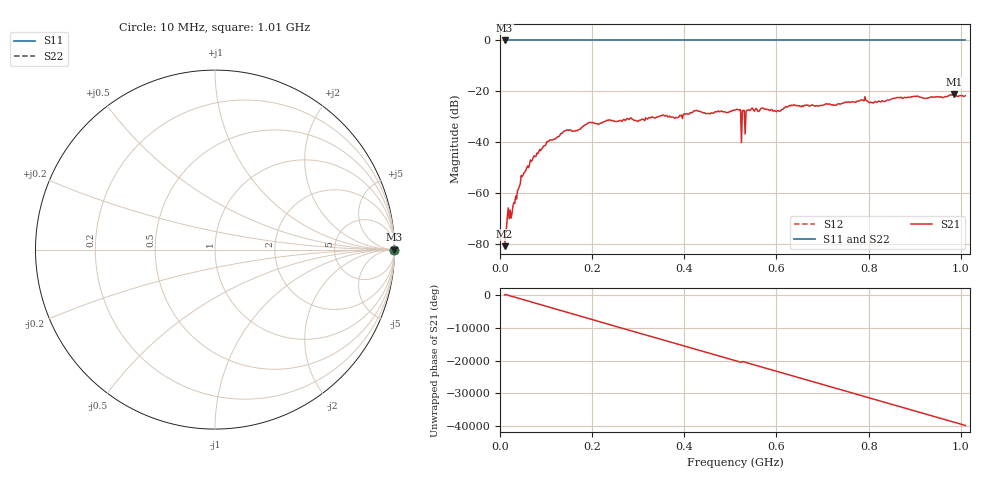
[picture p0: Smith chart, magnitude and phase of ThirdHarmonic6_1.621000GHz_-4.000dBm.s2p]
! 8/16/2025 7:21:24 PM
! C:\ANRITSUVNA\TEMP\TEMP.S2P
! CHANNEL.1
! TR.MEASUREMENT
! RAW.DATA
! RF.CORRECTION.OFF
! AVERAGING.OFF
! IF.BANDWIDTH: 5KHZ
! SWEEPTYPE:  FREQ.SWEEP(Linear)
! Reference Plane Port Info
! PORT:  PORT1  PORT2
! DISTANCE:  0  m  0  m
! TIME:  0  s  0  s
! PHASE.OFFSET:  0  deg.  0  deg.
! LOSS:  0  dB  0  dB
! REF.LOSS:  0  dB  0  dB
! REF.FREQ:  0  Hz  0  Hz
! Power Info
! POWER:  -20  dBm  -20  dBm
! EFF.POWER:  -20  dBm  -20  dBm
! SOURCE.ATTEN:  0  dB  0  dB
! TEST.ATTEN:  0  dB  0  dB
# GHZ S RI R 50.0
! FREQ.GHZ  S11RE  S11IM  S21RE  S21IM  S12RE  S12IM  S22RE  S22IM
!; PortSelection: Port_12
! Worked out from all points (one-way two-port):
!   501 points, 10 MHz to 1.01 GHz, reference 50 ohm
!   highest |S21| = -21.17 dB at 986 MHz (marker M1); lowest = -80.9 dB at 10 MHz (marker M2)
!   lowest |S11| = 0.0 dB at 10 MHz (marker M3)
!   |S11| at or under -10 dB: nowhere
!   |S22| runs from 0.0 to 0.0 dB; largest |S21 - S12| = 1.1
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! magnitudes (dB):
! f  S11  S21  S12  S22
! 10 MHz  0.0  -80.9  0.0  0.0
! 18 MHz  0.0  -65.9  0.0  0.0
! 28 MHz  0.0  -65.3  0.0  0.0
! 50 MHz  0.0  -53.0  0.0  0.0
! 70 MHz  0.0  -47.2  0.0  0.0
! 106 MHz  0.0  -39.6  0.0  0.0
! 178 MHz  0.0  -34.1  0.0  0.0
! 194 MHz  0.0  -32.3  0.0  0.0
! 344 MHz  0.0  -30.1  0.0  0.0
! 510 MHz  0.0  -27.4  0.0  0.0
! 518 MHz  0.0  -27.3  0.0  0.0
! 520 MHz  0.0  -27.3  0.0  0.0
! 526 MHz  0.0  -27.7  0.0  0.0
! 528 MHz  0.0  -27.5  0.0  0.0
! 530 MHz  0.0  -27.5  0.0  0.0
! 544 MHz  0.0  -27.3  0.0  0.0
! 604 MHz  0.0  -27.6  0.0  0.0
! 634 MHz  0.0  -25.6  0.0  0.0
! 678 MHz  0.0  -25.4  0.0  0.0
! 844 MHz  0.0  -23.5  0.0  0.0
! 986 MHz  0.0  -21.2  0.0  0.0
! 1.01 GHz  0.0  -21.7  0.0  0.0
